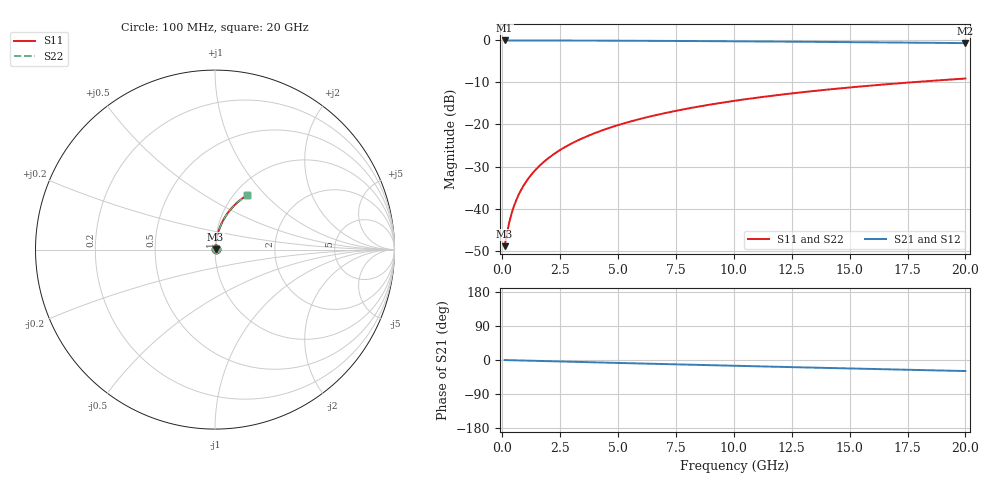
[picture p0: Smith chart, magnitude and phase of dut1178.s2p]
! Touchstone file exported from HFSS 2026.1.0
!  File:  C:/ffzhzh/LocalFiles/Ansys_Project_Files/temp_train_BSMRDL_1178_1783176094_22436.aedt
!  Generated:  10:42:47 PM Jul  4, 2026
!  Design:  BSMRDL
!  Project:  temp_train_BSMRDL_1178_1783176094_22436
! Variables:
!  h_bsmrdl = 3.72um
!  h_ox = 20um
!  h_rdl = 5um
!  h_sub = 80um
!  h_tmrdl = 5um
!  h_tsv = 80um
!  h_via = 3um
!  l_bsmrdl = 344.08um
!  l_sub = 744.08um
!  l_tmrdl = 200um
!  m_sub = 200um
!  pitch = 46.83um
!  r_tsv = 6um
!  s_tmrdl = 10um
!  w_bsmrdl = 11.61um
!  w_sub = 500um
!  w_tmrdl = 12um
!  x_tsv_center1 = 206um
!  x_tsv_center2 = 561.69um
!  x_tsv_center3 = 773.69um
!  x_tsv_center4 = 1129.38um
!  x_tsv_center5 = 1341.38um
!  x_tsv_center6 = 1697.07um
# GHz S MA R 50.000000
! Terminal data exported
! Port[1] = BSM_RDL1_1_T1
! Port[2] = BSM_RDL1_1_T2
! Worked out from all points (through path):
!   200 points, 100 MHz to 20 GHz, reference 50 ohm
!   highest |S21| = -0.03 dB at 100 MHz (marker M1); lowest = -0.7 dB at 20 GHz (marker M2)
!   group delay of S21, straight-line fit = 4.05 ps
!   lowest |S11| = -48.9 dB at 100 MHz (marker M3), VSWR 1.01, Z = 50.3 + j0.206 ohm
!   |S11| at or under -10 dB: start of sweep to 17.61 GHz
!   |S22| runs from -48.9 to -9.1 dB; largest |S21 - S12| = 4e-15
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0.1  0.003574 35.1  0.9971 -0.2  0.9971 -0.2  0.003574 35.1
! Gamma 0 0 0 0
! Port Impedance 50 0 50 0
0.2  0.005062 54.0  0.997 -0.3  0.997 -0.3  0.005062 54.0
0.3  0.006837 63.5  0.997 -0.5  0.997 -0.5  0.006837 63.5
0.4  0.008711 68.8  0.9969 -0.6  0.9969 -0.6  0.008711 68.8
0.5  0.01062 72.2  0.9968 -0.8  0.9968 -0.8  0.01062 72.2
0.6  0.01255 74.5  0.9968 -0.9  0.9968 -0.9  0.01255 74.5
0.8  0.01643 77.4  0.9966 -1.3  0.9966 -1.3  0.01643 77.4
1.1  0.02229 79.7  0.9964 -1.7  0.9964 -1.7  0.02229 79.7
1.5  0.03013 81.1  0.9961 -2.3  0.9961 -2.3  0.03013 81.1
1.8  0.03602 81.6  0.9959 -2.8  0.9959 -2.8  0.03602 81.6
2.1  0.04191 81.8  0.9956 -3.3  0.9956 -3.3  0.04191 81.8
2.7  0.05367 81.8  0.9948 -4.2  0.9948 -4.2  0.05367 81.8
3.5  0.06929 81.2  0.9936 -5.4  0.9936 -5.4  0.06929 81.2
4.2  0.08287 80.5  0.9923 -6.5  0.9923 -6.5  0.08287 80.5
5  0.09825 79.6  0.9906 -7.7  0.9906 -7.7  0.09825 79.6
5.9  0.1154 78.4  0.9883 -9.1  0.9883 -9.1  0.1154 78.4
6.8  0.1323 77.2  0.9858 -10.5  0.9858 -10.5  0.1323 77.2
8.3  0.16 75.1  0.9811 -12.7  0.9811 -12.7  0.16 75.1
10.1  0.1923 72.6  0.9746 -15.4  0.9746 -15.4  0.1924 72.6
13.4  0.2491 68.1  0.9606 -20.1  0.9606 -20.1  0.2491 68.0
16.7  0.3022 63.7  0.9445 -24.7  0.9445 -24.7  0.3022 63.6
20  0.3516 59.4  0.9268 -29.1  0.9268 -29.1  0.3516 59.3
